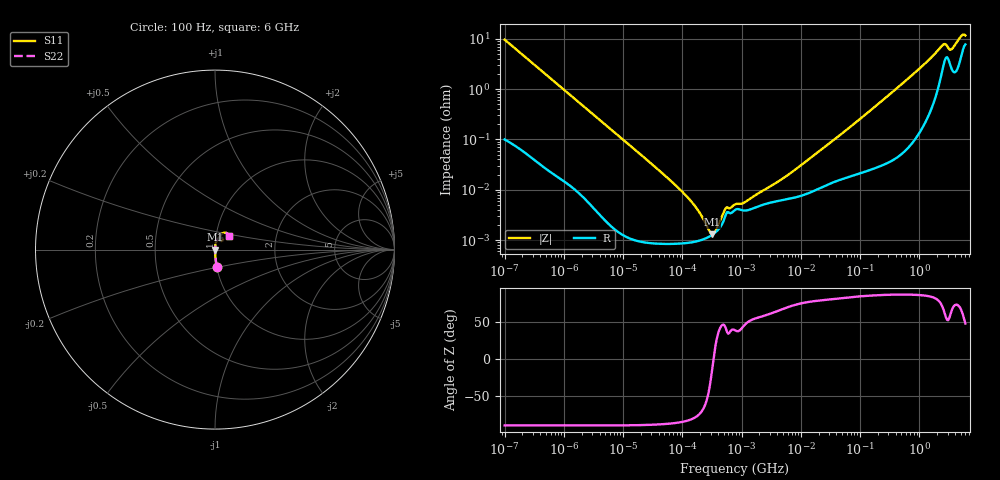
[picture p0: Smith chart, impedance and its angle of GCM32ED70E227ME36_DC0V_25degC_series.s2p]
!Murata Part Number: GCM32ED70E227ME36
!These Parameters are Measured in Series Mode Connection
!  o--ll--o
!Port1  Port2
!  o------o
!Operation Temp=25[degC], DC Bias Voltage=0[V]
!Freq. Start=100[Hz] Stop=6[GHz], 401[Steps]
!Data Generated on Feb 1, 2024
# Hz S RI R 50
!Freq.(Hz) S11(Real) S11(Imag) S21(Real) S21(Imag) S12(Real) S12(Imag) S22(Real) S22(Imag)
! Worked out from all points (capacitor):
!   401 points, 100 Hz to 6 GHz, reference 50 ohm
!   read as one part in series: C = 166 uF near 109.4 Hz
!   lowest |Z| = 1.32 mohm at 316.4 kHz (marker M1)
!   series resonance near 335.5 kHz, so ESL is about 1.4 nH
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100  0.0101 -0.0948  0.9899 0.0948  0.9899 0.0948  0.0101 -0.0948
334.9849  0.00121 -0.0289  0.9988 0.0289  0.9988 0.0289  0.00121 -0.0289
2008.354  9.98e-05 -0.00491  0.9999 0.00491  0.9999 0.00491  9.98e-05 -0.00491
40334.87  8.55e-06 -0.000244  1 0.000244  1 0.000244  8.55e-06 -0.000244
82567.04  8.51e-06 -0.000113  1 0.000113  1 0.000113  8.51e-06 -0.000113
94437.15  8.59e-06 -9.73e-05  1 9.73e-05  1 9.73e-05  8.59e-06 -9.73e-05
316350.2  1.27e-05 -3.55e-06  1 3.55e-06  1 3.55e-06  1.27e-05 -3.55e-06
774596.7  3.97e-05 3.26e-05  1 -3.26e-05  1 -3.26e-05  3.97e-05 3.26e-05
2169299  4.93e-05 7.85e-05  1 -7.85e-05  1 -7.85e-05  4.93e-05 7.85e-05
2594782  5.27e-05 9.06e-05  0.9999 -9.06e-05  0.9999 -9.06e-05  5.27e-05 9.06e-05
5554849  6.41e-05 0.000172  0.9999 -0.000172  0.9999 -0.000172  6.41e-05 0.000172
1.555665e7  9.21e-05 0.000447  0.9999 -0.000447  0.9999 -0.000447  9.21e-05 0.000447
6.518806e7  0.000183 0.00169  0.9998 -0.00169  0.9998 -0.00169  0.000183 0.00169
3.124326e8  0.000415 0.00775  0.9996 -0.00775  0.9996 -0.00775  0.000415 0.00775
1.144649e9  0.0026 0.029  0.9974 -0.029  0.9974 -0.029  0.0026 0.029
2.450438e9  0.0275 0.0663  0.9725 -0.0663  0.9725 -0.0663  0.0275 0.0663
2.679998e9  0.0394 0.0645  0.9606 -0.0645  0.9606 -0.0645  0.0394 0.0645
3.205649e9  0.0358 0.0475  0.9642 -0.0475  0.9642 -0.0475  0.0358 0.0475
3.505958e9  0.0277 0.0532  0.9723 -0.0532  0.9723 -0.0532  0.0277 0.0532
5.016141e9  0.0488 0.0935  0.9512 -0.0935  0.9512 -0.0935  0.0488 0.0935
5.486059e9  0.0669 0.0917  0.9331 -0.0917  0.9331 -0.0917  0.0669 0.0917
6e9  0.0774 0.0744  0.9226 -0.0744  0.9226 -0.0744  0.0774 0.0744
